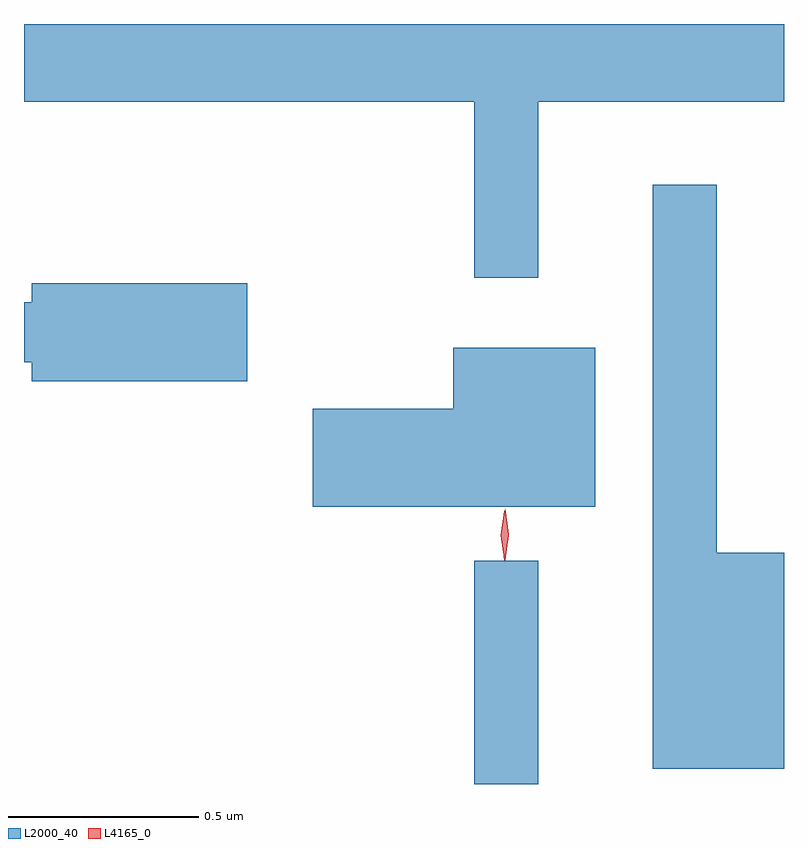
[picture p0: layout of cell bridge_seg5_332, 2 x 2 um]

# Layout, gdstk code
import gdstk
lib = gdstk.Library(unit=1e-6, precision=1e-09)
def R(c, l, rs):  # rectangles x0, y0, x1, y1
    for r in rs: c.add(gdstk.rectangle(r[:2], r[2:], *l))
def P(c, l, *ps):  # polygons
    for p in ps: c.add(gdstk.Polygon(p, *l))
L2000_40 = (2000, 40)
L4165_0 = (4165, 0)

bridge_seg5_332 = lib.new_cell('bridge_seg5_332')
R(bridge_seg5_332, L2000_40, [(689.691,1519.381,689.859,1519.968)])
P(bridge_seg5_332, L2000_40, [(689.859,1521.176),(690.506,1521.176),(690.506,1521.381),(688.506,1521.381),(688.506,1521.176),(689.691,1521.176),(689.691,1520.713),(689.859,1520.713)],
  [(690.506,1519.989),(690.329,1519.989),(690.329,1520.958),(690.161,1520.958),(690.161,1519.421),(690.506,1519.421)],
  [(689.094,1520.699),(688.526,1520.699),(688.526,1520.649),(688.506,1520.649),(688.506,1520.491),(688.526,1520.491),(688.526,1520.441),(689.094,1520.441)],
  [(690.009,1520.529),(689.636,1520.529),(689.636,1520.369),(689.266,1520.369),(689.266,1520.111),(690.009,1520.111)])
P(bridge_seg5_332, L4165_0, [(689.77,1519.97),(689.762,1520.038),(689.772,1520.106),(689.772,1520.106),(689.773,1520.106),(689.782,1520.038),(689.772,1519.97),(689.771,1519.97)],
  [(689.771,1519.973),(689.77,1519.974),(689.761,1520.036),(689.77,1520.099),(689.77,1520.1),(689.771,1520.099),(689.781,1520.036),(689.772,1519.974)])

lib.write_gds('bridge_seg5_332.gds')
